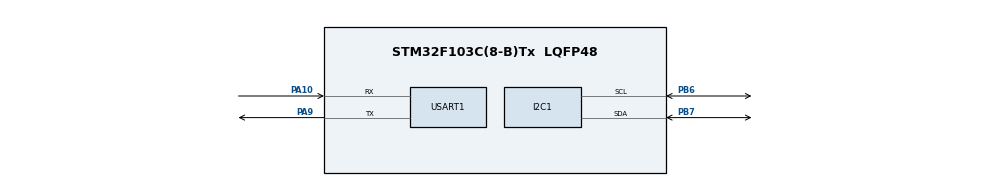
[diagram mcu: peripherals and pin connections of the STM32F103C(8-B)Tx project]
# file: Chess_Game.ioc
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Mcu.Family=STM32F1
Mcu.Name=STM32F103C(8-B)Tx
Mcu.Package=LQFP48
NVIC.PriorityGroup=NVIC_PRIORITYGROUP_4
NVIC.USART1_IRQn=true\:1\:0\:true\:false\:true\:true\:true\:true
PA10.Mode=Asynchronous
PA10.Signal=USART1_RX
PA13.Mode=Serial_Wire
PA13.Signal=SYS_JTMS-SWDIO
PA14.Mode=Serial_Wire
PA14.Signal=SYS_JTCK-SWCLK
PA9.Mode=Asynchronous
PA9.Signal=USART1_TX
PB6.Mode=I2C
PB6.Signal=I2C1_SCL
PB7.Mode=I2C
PB7.Signal=I2C1_SDA
PD0-OSC_IN.Mode=HSE-External-Oscillator
PD0-OSC_IN.Signal=RCC_OSC_IN
PD1-OSC_OUT.Mode=HSE-External-Oscillator
PD1-OSC_OUT.Signal=RCC_OSC_OUT
ProjectManager.HeapSize=0x200
ProjectManager.StackSize=0x400
ProjectManager.TargetToolchain=MDK-ARM V5
RCC.APB1Freq_Value=8000000
RCC.APB2Freq_Value=8000000
RCC.SYSCLKSource=RCC_SYSCLKSOURCE_HSE
USART1.VirtualMode=VM_ASYNC
board=custom

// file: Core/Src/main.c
/* USER CODE BEGIN Header */
/**
  ******************************************************************************
  * @file           : main.c
  * @brief          : Main program body
  ******************************************************************************
  * @attention
  *
  * Copyright (c) 2023 STMicroelectronics.
  * All rights reserved.
  *
  * This software is licensed under terms that can be found in the LICENSE file
  * in the root directory of this software component.
  * If no LICENSE file comes with this software, it is provided AS-IS.
  *
  ******************************************************************************
  */
/* USER CODE END Header */
#include "main.h"
#include "var.h"
#include "lcd_i2c.h"
#include "math.h"
#include "stdlib.h"
#include "time.h"
#include <string.h>
#include <stdio.h>
/* USER CODE BEGIN Includes */
uint8_t soxucxac;

uint8_t P1state=0;
uint8_t P2state=0;
uint8_t *v1=&P1state;
uint8_t *v2=&P2state;

uint8_t vitriP1=0;
uint8_t vitriP2=30;
uint8_t *Person1=&vitriP1;
uint8_t *Person2=&vitriP2;

uint8_t flag59=0;
uint8_t *Flag59=&flag59;

uint8_t Game_State;

uint8_t res1[30];
uint8_t res2[30];

uint8_t buffer[5];

uint8_t Start=0;
char stringLCD[50];
char str[50];
char buoc1[50];
char buoc2[50];

uint8_t c1=0,c2=0;
uint8_t *count1=&c1;
uint8_t *count2=&c2;

/* USER CODE END Includes */

/* USER CODE BEGIN PD */
int Check1(uint8_t *Person1)
{
 return 60-*Person1;
}
int Check2(uint8_t *Person2,uint8_t *Flag59)
{
	if(*Person2 >30 && *Person2 <60)
	{
	*Flag59=0;
	}
	else
		*Flag59=1;

 if(*Flag59 == 0)
 {
  return 30 + 60-*Person2;
 }
 else if(*Flag59 == 1)
 {
  return 30- *Person2;
 }
}

void MoveP1(uint8_t soxucxac,uint8_t *Person1, uint8_t *Person2,uint8_t *Flag59,uint8_t *v1)
{
	if(*Person2 >= 60)
	{
	*Person2=*Person2-60;
	*Flag59=1;
	}
	if( *Person1 + soxucxac < 60)
{
	if(*Person2 - *Person1 > 0 )
	{
	 if( *Person2 - *Person1 > soxucxac )
	 {
	  *Person1 = *Person1 + soxucxac;
	 }
	 else if( *Person2 - *Person1 == soxucxac )
	 {
	  *Person1 = *Person1 + soxucxac;
		*Person2 = 31;
		 Game_State=12;
	 }
	 else
	{
	 Game_State=10;
	 }
	}
	else if( *Person2 - *Person1 < 0 )
	{
	 *Person1 = *Person1 + soxucxac;
	}
}
 else if(*Person1 + soxucxac == 60 )
 {
  *Person1=1;
	 *v1+=1;
	 Game_State=14;
 }
 else
	 Game_State=16;

}
void MoveP2(uint8_t soxucxac,uint8_t *Person1, uint8_t *Person2,uint8_t *Flag59,uint8_t *v2)
{
	if(*Person2 >= 60)
	{
	*Person2=*Person2-60;
	*Flag59=1;
	}
	if(*Flag59 ==0 || (*Flag59 == 1 && *Person2 + soxucxac < 30) )
	{
	 if( *Person1 - *Person2 > 0 )
	 {
	  if(*Person1 - *Person2 > soxucxac )
		{
		 *Person2 = *Person2 + soxucxac;
		}
		else if( *Person1 - *Person2 == soxucxac )
		{
		 *Person2 = *Person2 + soxucxac;
		 *Person1 = 1;
			Game_State=13;
		}
		else
			Game_State=11;
	 }
	 else if( *Person1 - *Person2 < 0)
	 {
	  *Person2 = *Person2 + soxucxac;
	 }
	}
	if( *Person2 + soxucxac == 30 )
	{
	 *Person2 =31;
	 *v2+=1;
		Game_State=15;
	}
	if(*Person2 + soxucxac > 30)
	{
		Game_State=17;
	}
}
/* USER CODE END PD */

I2C_HandleTypeDef hi2c1;

UART_HandleTypeDef huart1;

void SystemClock_Config(void);
static void MX_GPIO_Init(void);
static void MX_USART1_UART_Init(void);
static void MX_I2C1_Init(void);

void CMD(){

	 HAL_UART_Receive_IT(&huart1,(uint8_t*)buffer,sizeof(buffer));
	}
int main(void)
{
  /* USER CODE BEGIN 1 */
  //  srand((unsigned int)time(NULL)); // lam thay doi so xuc xac ngau nhien
  /* USER CODE END 1 */

  /* MCU Configuration--------------------------------------------------------*/

  /* Reset of all peripherals, Initializes the Flash interface and the Systick. */
  HAL_Init();

  /* Configure the system clock */
  SystemClock_Config();

  /* Initialize all configured peripherals */
  MX_GPIO_Init();
  MX_USART1_UART_Init();
  MX_I2C1_Init();
  /* USER CODE BEGIN 2 */
  LCD_I2C_Init();
	LCD_I2C_Clear();
	HAL_Delay(500);
	LCD_I2C_Location(0,0);
	LCD_I2C_String("Hello ");
	HAL_Delay(1000);

	CMD();

		HAL_Delay(5000);
  /* USER CODE END 2 */

  /* Infinite loop */
  while (1)
  {
switch(Game_State)
		{
			/*case 0:
				LCD_I2C_Clear();
		    LCD_I2C_Location(0,0);
			  HAL_Delay(1000);
		    LCD_I2C_String("Start game");
		    HAL_Delay(1000);
        break;*/
			case 1:
				LCD_I2C_Clear();
		    LCD_I2C_Location(0,0);
		    LCD_I2C_String("Make CMD");
		    HAL_Delay(1000);
        break;
			case 2:
				HAL_Delay(1000);
				LCD_I2C_Clear();
			  LCD_I2C_Location(0,0);
			  LCD_I2C_String("Person 1");
			  LCD_I2C_Location(1,0);

			  sprintf((char*)stringLCD,"Move %d buoc",soxucxac);
			  LCD_I2C_String((char*)stringLCD);
			  break;

			case 3:
				HAL_Delay(1000);
				LCD_I2C_Clear();
		  	LCD_I2C_Location(0,0);
			  LCD_I2C_String("Person 2");
			  LCD_I2C_Location(1,0);
			  LCD_I2C_String((char*)stringLCD);
			  break;

			case 4:
				HAL_Delay(1000);
				LCD_I2C_Clear();
			  LCD_I2C_Location(0,0);
			  LCD_I2C_String((char*)buoc1);
			  HAL_Delay(2000);
			  LCD_I2C_Clear();
		  	LCD_I2C_Location(0,0);
	  		LCD_I2C_String("P1 cach dich");
		  	LCD_I2C_Location(1,2);
			  LCD_I2C_String((char*)res1);
			  HAL_Delay(1000);
			  break;

			case 5:
				HAL_Delay(1000);
			  LCD_I2C_Clear();
			  LCD_I2C_Location(0,0);
			  LCD_I2C_String((char*)buoc2);
			  HAL_Delay(2000);
				LCD_I2C_Clear();
			  LCD_I2C_Location(0,0);
		  	LCD_I2C_String("P2 cach dich");
			  LCD_I2C_Location(1,2);
			  LCD_I2C_String((char*)res2);
			  HAL_Delay(1000);
			  break;

			case 6:
				LCD_I2C_Clear();
			  LCD_I2C_Location(0,0);
			  LCD_I2C_String((char*)str);
			  HAL_Delay(1000);
			  break;

			case 7:
		    LCD_I2C_Clear();
			  LCD_I2C_Location(0,0);
			  LCD_I2C_String((char*)str);
			  HAL_Delay(1000);
			  break;

		  case 8:
				LCD_I2C_Clear();
			  LCD_I2C_Location(0,0);
			  LCD_I2C_String("Person 1");
			  HAL_Delay(500);
			  LCD_I2C_Location(1,0);
			  LCD_I2C_String("Win");
			  HAL_Delay(1000);
			  break;

		  case 9:
				LCD_I2C_Clear();
			  LCD_I2C_Location(0,0);
			  LCD_I2C_String("Person 2");
			  HAL_Delay(500);
			  LCD_I2C_Location(1,0);
			  LCD_I2C_String("Win");
			  HAL_Delay(1000);
			  break;
		  case 10:
				LCD_I2C_Clear();
			  LCD_I2C_Location(0,0);
			  LCD_I2C_String("P1 can't kick P2");
			  HAL_Delay(1000);
			  break;
			case 11:
				LCD_I2C_Clear();
			  LCD_I2C_Location(0,0);
			  LCD_I2C_String("P2 can't kick P1");
			  HAL_Delay(1000);
			  break;
			case 12:
				LCD_I2C_Clear();
			  LCD_I2C_Location(0,0);
			  LCD_I2C_String("P1 kicked P2");
			  HAL_Delay(1000);
			  break;
			case 13:
				LCD_I2C_Clear();
			  LCD_I2C_Location(0,0);
			  LCD_I2C_String("P2 kicked P1");
			  HAL_Delay(1000);
		  	break;
			case 14:
				LCD_I2C_Clear();
			  LCD_I2C_Location(0,0);
			  char r1[50];
			  sprintf((char*)r1,"%d con P1 ve dich",*v1);
			  LCD_I2C_String((char*)r1);
			  HAL_Delay(1000);
		  	break;
			case 15:
				LCD_I2C_Clear();
			  LCD_I2C_Location(0,0);
			  char r2[50];
			  sprintf((char*)r2,"%d con P2 ve dich",*v2);
			  LCD_I2C_String((char*)r2);
			  HAL_Delay(1000);
		  	break;
			case 16:
				LCD_I2C_Clear();
			  LCD_I2C_Location(0,0);
			  LCD_I2C_String("P1 ko di dc");
			  HAL_Delay(1000);
			  break;
			case 17:
				LCD_I2C_Clear();
			  LCD_I2C_Location(0,0);
			  LCD_I2C_String("P2 ko di dc");
			  HAL_Delay(1000);
			  break;
		}
  }
}

void SystemClock_Config(void)
{
  RCC_OscInitTypeDef RCC_OscInitStruct = {0};
  RCC_ClkInitTypeDef RCC_ClkInitStruct = {0};

  /** Initializes the RCC Oscillators according to the specified parameters
  * in the RCC_OscInitTypeDef structure.
  */
  RCC_OscInitStruct.OscillatorType = RCC_OSCILLATORTYPE_HSE;
  RCC_OscInitStruct.HSEState = RCC_HSE_ON;
  RCC_OscInitStruct.PLL.PLLState = RCC_PLL_NONE;
  if (HAL_RCC_OscConfig(&RCC_OscInitStruct) != HAL_OK)
  {
    Error_Handler();
  }

  /** Initializes the CPU, AHB and APB buses clocks
  */
  RCC_ClkInitStruct.ClockType = RCC_CLOCKTYPE_HCLK|RCC_CLOCKTYPE_SYSCLK
                              |RCC_CLOCKTYPE_PCLK1|RCC_CLOCKTYPE_PCLK2;
  RCC_ClkInitStruct.SYSCLKSource = RCC_SYSCLKSOURCE_HSE;
  RCC_ClkInitStruct.AHBCLKDivider = RCC_SYSCLK_DIV1;
  RCC_ClkInitStruct.APB1CLKDivider = RCC_HCLK_DIV1;
  RCC_ClkInitStruct.APB2CLKDivider = RCC_HCLK_DIV1;

  if (HAL_RCC_ClockConfig(&RCC_ClkInitStruct, FLASH_LATENCY_0) != HAL_OK)
  {
    Error_Handler();
  }
}

static void MX_I2C1_Init(void)
{

  hi2c1.Instance = I2C1;
  hi2c1.Init.ClockSpeed = 100000;
  hi2c1.Init.DutyCycle = I2C_DUTYCYCLE_2;
  hi2c1.Init.OwnAddress1 = 0;
  hi2c1.Init.AddressingMode = I2C_ADDRESSINGMODE_7BIT;
  hi2c1.Init.DualAddressMode = I2C_DUALADDRESS_DISABLE;
  hi2c1.Init.OwnAddress2 = 0;
  hi2c1.Init.GeneralCallMode = I2C_GENERALCALL_DISABLE;
  hi2c1.Init.NoStretchMode = I2C_NOSTRETCH_DISABLE;
  if (HAL_I2C_Init(&hi2c1) != HAL_OK)
  {
    Error_Handler();
  }

}

static void MX_USART1_UART_Init(void)
{

  huart1.Instance = USART1;
  huart1.Init.BaudRate = 115200;
  huart1.Init.WordLength = UART_WORDLENGTH_8B;
  huart1.Init.StopBits = UART_STOPBITS_1;
  huart1.Init.Parity = UART_PARITY_NONE;
  huart1.Init.Mode = UART_MODE_TX_RX;
  huart1.Init.HwFlowCtl = UART_HWCONTROL_NONE;
  huart1.Init.OverSampling = UART_OVERSAMPLING_16;
  if (HAL_UART_Init(&huart1) != HAL_OK)
  {
    Error_Handler();
  }

}

static void MX_GPIO_Init(void)
{

  /* GPIO Ports Clock Enable */
  __HAL_RCC_GPIOD_CLK_ENABLE();
  __HAL_RCC_GPIOA_CLK_ENABLE();
  __HAL_RCC_GPIOB_CLK_ENABLE();

}

/* USER CODE BEGIN 4 */
void HAL_UART_RxCpltCallback(UART_HandleTypeDef *huart)
{
if(huart->Instance == huart1.Instance)
 {

  if(Start ==0)
	{
		if(buffer[0]== 0xAB && buffer[4]==0xBA && buffer[1]==0x00) //Start
	 {
	  Start=1;
		HAL_UART_Transmit(&huart1,(uint8_t*)"\nStart\n",sizeof("\nStart\n"),100);
		Game_State=1;
	 }
 }
	if(Start==1)
	{
		CMD();
		if(buffer[0]==0xAB&& buffer[4]==0xBA && buffer[1]==0x01) //Move
	 {
		 HAL_UART_Transmit(&huart1,(uint8_t*)"\nMove\n",sizeof("\nMove\n"),100);
		 soxucxac=(rand() % 6) + 1;
		/* char resp[16];
		 sprintf((char*)resp,"soxucxac= %d ",soxucxac);*/
	  // soxucxac = 1 + (int)(rand()*(6-1+1.0)/(1.0+RAND_MAX)); //tung xuc xac
		// HAL_UART_Transmit(&huart1,(uint8_t*)resp,sizeof(resp),100);

		 if( buffer[3]==0x01)
		 {
			 HAL_UART_Transmit(&huart1,(uint8_t*)"MoveP1\n",sizeof("MoveP1\n"),100);
			 //HAL_UART_Transmit(&huart1,(uint8_t*)"Start1",sizeof("Start"),100);
		  Game_State=2;
			 MoveP1(soxucxac,Person1,Person2,Flag59,v1);
			sprintf((char*)stringLCD,"Move %d buoc",soxucxac);
			HAL_UART_Transmit(&huart1,(uint8_t*)stringLCD,sizeof(stringLCD),100);

			*count1=*count1 +1;

		 }
		 else if(buffer[3]== 0x02 )
		 {
			 Game_State=3;
			HAL_UART_Transmit(&huart1,(uint8_t*)"MoveP2",sizeof("MoveP2"),100);
		  MoveP2(soxucxac,Person1,Person2,Flag59,v2);
			sprintf(stringLCD,"Move %d buoc",soxucxac);

			 *count2=*count2 +1;

		 }
	 }
	 else if(buffer[0]==0xAB && buffer[4]==0xBA && buffer[1]==0x02) //Check
	 {
		HAL_UART_Transmit(&huart1,(uint8_t*)"\nCheck\n",sizeof("\nCheck\n"),100);
	  if(buffer[3]==0x01 )
		{
		 int d =Check1(Person1);

		sprintf((char*)buoc1,"P1 position: %d",*Person1);
		sprintf((char*)res1,"%d buoc",d);
		  Game_State=4;
		}
		else if(buffer[3]==0x02)
		{
		  int d=Check2(Person2,Flag59);
			sprintf((char*)buoc2,"P2 position: %d",*Person2);
		  sprintf((char*)res2,"%d buoc",d);
		  Game_State=5;
		}
	}
	 else if(buffer[0]==0xAB && buffer[4]==0xBA && buffer[1]==0x03) //Log
	 {
		 HAL_UART_Transmit(&huart1,(uint8_t*)"\nLog\n",sizeof("\nLog\n"),100);
	   if(buffer[3]== 0x01 )
		 {
			sprintf((char*)str,"P1 qua %d turn",*count1);
			Game_State=6;
		 }
		 else if(buffer[3]== 0x02)
		 {
			sprintf((char*)str,"P2 qua %d turn",*count2);
			Game_State=7;
		 }

	 }
	 if(*v1 > *v2 && *v1 == 2)
	 {
	  Game_State=8;
	 }
	 else if(*v1 < *v2 && *v2 == 2)
	 {
	  Game_State=9;
	 }
	 else;
	}
 }
}
/* USER CODE END 4 */

void Error_Handler(void)
{
  __disable_irq();
  while (1)
  {
  }
}
